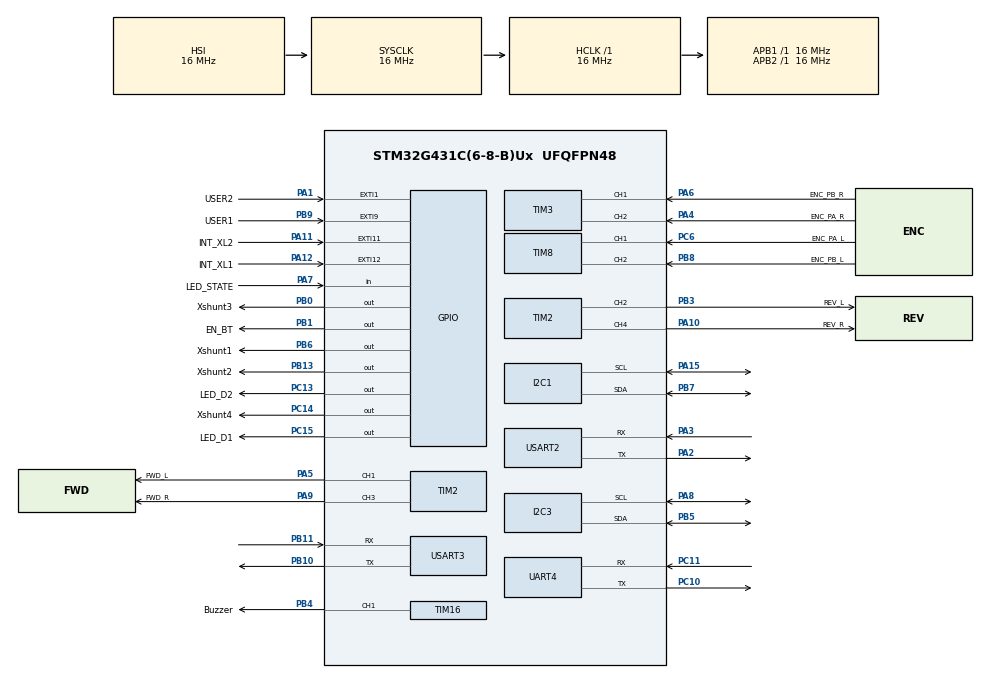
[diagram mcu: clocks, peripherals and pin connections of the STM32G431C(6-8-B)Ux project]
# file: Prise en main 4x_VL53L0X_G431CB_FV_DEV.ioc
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FREERTOS.Tasks01=defaultTask,0,128,StartDefaultTask,Default,NULL,Dynamic,NULL,NULL
I2C1.Timing=0x00503D58
I2C3.Timing=0x00503D58
Mcu.Family=STM32G4
Mcu.Name=STM32G431C(6-8-B)Ux
Mcu.Package=UFQFPN48
NVIC.PriorityGroup=NVIC_PRIORITYGROUP_4
NVIC.TIM6_DAC_IRQn=true\:15\:0\:false\:false\:true\:false\:false\:true\:true
NVIC.TIM7_IRQn=true\:5\:0\:false\:false\:true\:true\:true\:true\:true
NVIC.TimeBase=TIM6_DAC_IRQn
NVIC.TimeBaseIP=TIM6
PA1.GPIO_Label=USER2
PA1.Signal=GPXTI1
PA10.GPIO_Label=REV_R
PA10.Signal=S_TIM2_CH4
PA11.GPIO_Label=INT_XL2
PA11.Signal=GPXTI11
PA12.GPIO_Label=INT_XL1
PA12.Signal=GPXTI12
PA13.Mode=Serial_Wire
PA13.Signal=SYS_JTMS-SWDIO
PA14.Mode=Serial_Wire
PA14.Signal=SYS_JTCK-SWCLK
PA15.Mode=I2C
PA15.Signal=I2C1_SCL
PA2.Mode=Asynchronous
PA2.Signal=USART2_TX
PA3.Mode=Asynchronous
PA3.Signal=USART2_RX
PA4.GPIO_Label=ENC_PA_R
PA4.Signal=S_TIM3_CH2
PA5.GPIO_Label=FWD_L
PA5.Signal=S_TIM2_CH1
PA6.GPIO_Label=ENC_PB_R
PA6.Signal=S_TIM3_CH1
PA7.GPIO_Label=LED_STATE
PA7.Signal=GPIO_Input
PA8.Mode=I2C
PA8.Signal=I2C3_SCL
PA9.GPIO_Label=FWD_R
PA9.Signal=S_TIM2_CH3
PB0.GPIO_Label=Xshunt3
PB0.GPIO_PuPd=GPIO_PULLUP
PB0.GPIO_Speed=GPIO_SPEED_FREQ_LOW
PB0.PinState=GPIO_PIN_RESET
PB0.Signal=GPIO_Output
PB1.GPIO_Label=EN_BT
PB1.Signal=GPIO_Output
PB10.Mode=Asynchronous
PB10.Signal=USART3_TX
PB11.Mode=Asynchronous
PB11.Signal=USART3_RX
PB13.GPIO_Label=Xshunt2
PB13.GPIO_PuPd=GPIO_PULLUP
PB13.PinState=GPIO_PIN_RESET
PB13.Signal=GPIO_Output
PB15.GPIO_Label=M_CTRL
PB15.Signal=S_TIM15_CH2
PB3.GPIO_Label=REV_L
PB3.Signal=S_TIM2_CH2
PB4.GPIO_Label=Buzzer
PB4.Signal=S_TIM16_CH1
PB5.Mode=I2C
PB5.Signal=I2C3_SDA
PB6.GPIO_Label=Xshunt1
PB6.GPIO_PuPd=GPIO_PULLUP
PB6.PinState=GPIO_PIN_RESET
PB6.Signal=GPIO_Output
PB7.Mode=I2C
PB7.Signal=I2C1_SDA
PB8-BOOT0.GPIO_Label=ENC_PB_L
PB8-BOOT0.Signal=S_TIM8_CH2
PB9.GPIO_Label=USER1
PB9.Signal=GPXTI9
PC10.Mode=Asynchronous
PC10.Signal=UART4_TX
PC11.Mode=Asynchronous
PC11.Signal=UART4_RX
PC13.GPIO_Label=LED_D2
PC13.Signal=GPIO_Output
PC14-OSC32_IN.GPIO_Label=Xshunt4
PC14-OSC32_IN.GPIO_PuPd=GPIO_PULLUP
PC14-OSC32_IN.PinState=GPIO_PIN_RESET
PC14-OSC32_IN.Signal=GPIO_Output
PC15-OSC32_OUT.GPIO_Label=LED_D1
PC15-OSC32_OUT.Signal=GPIO_Output
PC6.GPIO_Label=ENC_PA_L
PC6.Signal=S_TIM8_CH1
PF0-OSC_IN.Mode=HSE-External-Oscillator
PF0-OSC_IN.Signal=RCC_OSC_IN
PF1-OSC_OUT.Mode=HSE-External-Oscillator
PF1-OSC_OUT.Signal=RCC_OSC_OUT
ProjectManager.HeapSize=0x200
ProjectManager.StackSize=0x400
ProjectManager.TargetToolchain=STM32CubeIDE
RCC.AHBFreq_Value=16000000
RCC.APB1Freq_Value=16000000
RCC.APB1TimFreq_Value=16000000
RCC.APB2Freq_Value=16000000
RCC.APB2TimFreq_Value=16000000
RCC.CortexFreq_Value=16000000
RCC.EXTERNAL_CLOCK_VALUE=12288000
RCC.HCLKFreq_Value=16000000
RCC.HSE_VALUE=8000000
RCC.HSI48_VALUE=48000000
RCC.HSI_VALUE=16000000
RCC.LSE_VALUE=32768
RCC.SYSCLKFreq_VALUE=16000000
RCC.USBFreq_Value=64000000
RCC.VCOOutputFreq_Value=128000000
SH.S_TIM15_CH2.0=TIM15_CH2
SH.S_TIM16_CH1.0=TIM16_CH1,PWM Generation1 CH1
SH.S_TIM2_CH1.0=TIM2_CH1,PWM Generation1 CH1
SH.S_TIM2_CH2.0=TIM2_CH2,PWM Generation2 CH2
SH.S_TIM2_CH3.0=TIM2_CH3,PWM Generation3 CH3
SH.S_TIM2_CH4.0=TIM2_CH4,PWM Generation4 CH4
SH.S_TIM3_CH1.0=TIM3_CH1,Encoder_Interface
SH.S_TIM3_CH2.0=TIM3_CH2,Encoder_Interface
SH.S_TIM8_CH1.0=TIM8_CH1,Encoder_Interface
SH.S_TIM8_CH2.0=TIM8_CH2,Encoder_Interface
TIM16.Channel=TIM_CHANNEL_1
TIM2.Channel-PWM\ Generation1\ CH1=TIM_CHANNEL_1
TIM2.Channel-PWM\ Generation2\ CH2=TIM_CHANNEL_2
TIM2.Channel-PWM\ Generation3\ CH3=TIM_CHANNEL_3
TIM2.Channel-PWM\ Generation4\ CH4=TIM_CHANNEL_4
USART2.VirtualMode-Asynchronous=VM_ASYNC
USART3.VirtualMode-Asynchronous=VM_ASYNC
VP_FREERTOS_VS_CMSIS_V1.Mode=CMSIS_V1
VP_SYS_VS_DBSignals.Mode=DisableDeadBatterySignals
VP_SYS_VS_tim6.Mode=TIM6
VP_TIM16_VS_ClockSourceINT.Mode=Enable_Timer
VP_TIM7_VS_ClockSourceINT.Mode=Enable_Timer
board=custom

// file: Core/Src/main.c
/* USER CODE BEGIN Header */
/**
 ******************************************************************************
 * @file           : main.c
 * @brief          : Main program body
 ******************************************************************************
 * @attention
 *
 * Copyright (c) 2025 STMicroelectronics.
 * All rights reserved.
 *
 * This software is licensed under terms that can be found in the LICENSE file
 * in the root directory of this software component.
 * If no LICENSE file comes with this software, it is provided AS-IS.
 *
 ******************************************************************************
 */
/* USER CODE END Header */
#include "main.h"
#include "cmsis_os.h"
#include "i2c.h"
#include "tim.h"
#include "usart.h"
#include "gpio.h"

/* USER CODE BEGIN Includes */
#include "VL53L0X.h"
#include "stdio.h"
/* USER CODE END Includes */

/* USER CODE BEGIN PV */
h_vl53l0x_t h_vl53l0x =
{
		.htim = &htim7,
		.hi2c = &hi2c3,
		// XSHUT TOF 1
		.XSHUT_TOF1_GPIO_Port = GPIOB,
		.XSHUT_TOF1_GPIO_Pin = GPIO_PIN_6,
		// XSHUT TOF 2
		.XSHUT_TOF2_GPIO_Port = GPIOB,
		.XSHUT_TOF2_GPIO_Pin = GPIO_PIN_13,
		// XSHUT TOF 3
		.XSHUT_TOF3_GPIO_Port = GPIOB,
		.XSHUT_TOF3_GPIO_Pin = GPIO_PIN_0,
		// XSHUT TOF 4
		.XSHUT_TOF4_GPIO_Port = GPIOC,
		.XSHUT_TOF4_GPIO_Pin = GPIO_PIN_14,
};
/* USER CODE END PV */

void SystemClock_Config(void);
void MX_FREERTOS_Init(void);

/* USER CODE BEGIN 0 */
int __io_putchar(int chr)
{
	HAL_UART_Transmit(&huart4, (uint8_t*) &chr, 1, HAL_MAX_DELAY);
	return chr;
}
/* USER CODE END 0 */

int main(void)
{

	/* MCU Configuration--------------------------------------------------------*/

	/* Reset of all peripherals, Initializes the Flash interface and the Systick. */
	HAL_Init();

	/* Configure the system clock */
	SystemClock_Config();

	/* Initialize all configured peripherals */
	MX_GPIO_Init();
	MX_I2C1_Init();
	MX_I2C3_Init();
	MX_TIM2_Init();
	MX_TIM3_Init();
	MX_TIM8_Init();
	MX_UART4_Init();
	MX_USART2_UART_Init();
	MX_USART3_UART_Init();
	MX_TIM16_Init();
	MX_TIM7_Init();
	/* USER CODE BEGIN 2 */
	printf("\r\n ================= VL53L0X ================= \r\n");
	VL53L0X_InitAllTOF(&h_vl53l0x);
	vTaskStartScheduler();
	/* USER CODE END 2 */

	/* Call init function for freertos objects (in cmsis_os2.c) */
	MX_FREERTOS_Init();

	/* Start scheduler */
	osKernelStart();

	/* We should never get here as control is now taken by the scheduler */

	/* Infinite loop */
	while (1)
	{

	}
}

void SystemClock_Config(void)
{
	RCC_OscInitTypeDef RCC_OscInitStruct = {0};
	RCC_ClkInitTypeDef RCC_ClkInitStruct = {0};

	/** Configure the main internal regulator output voltage
	 */
	HAL_PWREx_ControlVoltageScaling(PWR_REGULATOR_VOLTAGE_SCALE1);

	/** Initializes the RCC Oscillators according to the specified parameters
	 * in the RCC_OscInitTypeDef structure.
	 */
	RCC_OscInitStruct.OscillatorType = RCC_OSCILLATORTYPE_HSI;
	RCC_OscInitStruct.HSIState = RCC_HSI_ON;
	RCC_OscInitStruct.HSICalibrationValue = RCC_HSICALIBRATION_DEFAULT;
	RCC_OscInitStruct.PLL.PLLState = RCC_PLL_NONE;
	if (HAL_RCC_OscConfig(&RCC_OscInitStruct) != HAL_OK)
	{
		Error_Handler();
	}

	/** Initializes the CPU, AHB and APB buses clocks
	 */
	RCC_ClkInitStruct.ClockType = RCC_CLOCKTYPE_HCLK|RCC_CLOCKTYPE_SYSCLK
			|RCC_CLOCKTYPE_PCLK1|RCC_CLOCKTYPE_PCLK2;
	RCC_ClkInitStruct.SYSCLKSource = RCC_SYSCLKSOURCE_HSI;
	RCC_ClkInitStruct.AHBCLKDivider = RCC_SYSCLK_DIV1;
	RCC_ClkInitStruct.APB1CLKDivider = RCC_HCLK_DIV1;
	RCC_ClkInitStruct.APB2CLKDivider = RCC_HCLK_DIV1;

	if (HAL_RCC_ClockConfig(&RCC_ClkInitStruct, FLASH_LATENCY_0) != HAL_OK)
	{
		Error_Handler();
	}
}

void HAL_TIM_PeriodElapsedCallback(TIM_HandleTypeDef *htim)
{
	if (htim->Instance == TIM6)
	{
		HAL_IncTick();
	}
	if (htim->Instance == TIM7)
	{
		VL53L0X_TIMx_Callback(&h_vl53l0x);
	}
}

void Error_Handler(void)
{
	__disable_irq();
	while (1)
	{
	}
}
